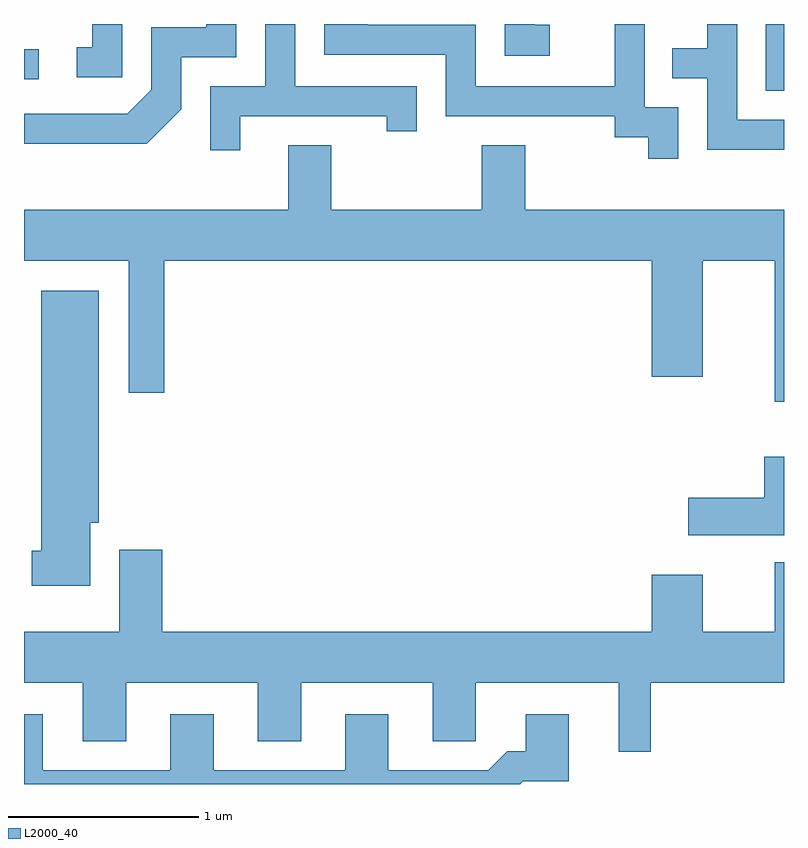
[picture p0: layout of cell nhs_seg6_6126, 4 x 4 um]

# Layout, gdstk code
import gdstk
lib = gdstk.Library(unit=1e-6, precision=1e-09)
def R(c, l, rs):  # rectangles x0, y0, x1, y1
    for r in rs: c.add(gdstk.rectangle(r[:2], r[2:], *l))
def P(c, l, *ps):  # polygons
    for p in ps: c.add(gdstk.Polygon(p, *l))
L2000_40 = (2000, 40)

nhs_seg6_6126 = lib.new_cell('nhs_seg6_6126')
R(nhs_seg6_6126, L2000_40, [(375.516,1559.811,375.611,1560.162), (371.611,1559.871,371.688,1560.029)])
P(nhs_seg6_6126, L2000_40, [(375.611,1559.659),(375.364,1559.659),(375.364,1560.162),(375.206,1560.162),(375.206,1560.034),(375.023,1560.034),(375.023,1559.876),(375.206,1559.876),(375.206,1559.501),(375.611,1559.501)],
  [(374.378,1560.159),(374.299,1560.159),(374.299,1560.162),(374.141,1560.162),(374.141,1559.996),(374.378,1559.996)],
  [(372.749,1559.676),(373.521,1559.676),(373.521,1559.598),(373.679,1559.598),(373.679,1559.834),(373.039,1559.834),(373.039,1560.162),(372.881,1560.162),(372.881,1559.834),(372.591,1559.834),(372.591,1559.498),(372.749,1559.498)],
  [(372.439,1559.714),(372.439,1559.986),(372.729,1559.986),(372.729,1560.162),(372.571,1560.162),(372.571,1560.144),(372.281,1560.144),(372.281,1559.817),(372.154,1559.689),(371.611,1559.689),(371.611,1559.531),(372.257,1559.531)],
  [(372.129,1560.162),(371.971,1560.162),(371.971,1560.039),(371.888,1560.039),(371.888,1559.881),(372.129,1559.881)],
  [(375.054,1559.724),(374.879,1559.724),(374.879,1560.162),(374.721,1560.162),(374.721,1559.834),(373.989,1559.834),(373.989,1560.159),(373.419,1560.159),(373.419,1560.162),(373.191,1560.162),(373.191,1560.001),(373.831,1560.001),(373.831,1559.676),(374.721,1559.676),(374.721,1559.566),(374.896,1559.566),(374.896,1559.453),(375.054,1559.453)],
  [(375.611,1559.184),(374.249,1559.184),(374.249,1559.524),(374.021,1559.524),(374.021,1559.184),(373.229,1559.184),(373.229,1559.524),(373.001,1559.524),(373.001,1559.184),(371.611,1559.184),(371.611,1558.916),(372.161,1558.916),(372.161,1558.221),(372.349,1558.221),(372.349,1558.916),(374.916,1558.916),(374.916,1558.306),(375.184,1558.306),(375.184,1558.916),(375.561,1558.916),(375.561,1558.173),(375.611,1558.173)],
  [(371.959,1557.536),(372.004,1557.536),(372.004,1558.759),(371.701,1558.759),(371.701,1557.389),(371.651,1557.389),(371.651,1557.206),(371.959,1557.206)],
  [(375.611,1557.884),(375.506,1557.884),(375.506,1557.669),(375.106,1557.669),(375.106,1557.471),(375.611,1557.471)],
  [(374.909,1556.696),(375.611,1556.696),(375.611,1557.328),(375.561,1557.328),(375.561,1556.964),(375.184,1556.964),(375.184,1557.264),(374.916,1557.264),(374.916,1556.964),(372.339,1556.964),(372.339,1557.394),(372.111,1557.394),(372.111,1556.964),(371.611,1556.964),(371.611,1556.696),(371.921,1556.696),(371.921,1556.386),(372.149,1556.386),(372.149,1556.696),(372.841,1556.696),(372.841,1556.386),(373.069,1556.386),(373.069,1556.696),(373.761,1556.696),(373.761,1556.386),(373.989,1556.386),(373.989,1556.696),(374.741,1556.696),(374.741,1556.333),(374.909,1556.333)],
  [(374.237,1556.176),(374.479,1556.176),(374.479,1556.529),(374.251,1556.529),(374.251,1556.334),(374.154,1556.334),(374.054,1556.234),(373.529,1556.234),(373.529,1556.529),(373.301,1556.529),(373.301,1556.234),(372.609,1556.234),(372.609,1556.529),(372.381,1556.529),(372.381,1556.234),(371.709,1556.234),(371.709,1556.529),(371.611,1556.529),(371.611,1556.162),(374.223,1556.162)])

lib.write_gds('nhs_seg6_6126.gds')
